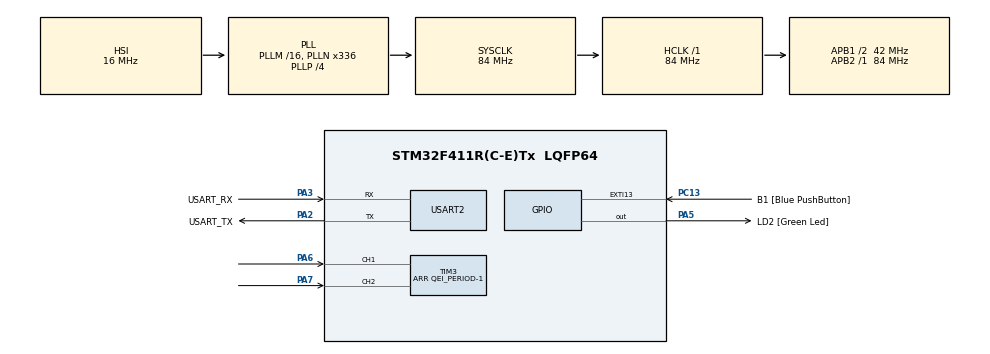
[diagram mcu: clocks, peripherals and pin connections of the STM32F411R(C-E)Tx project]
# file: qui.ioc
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Mcu.Family=STM32F4
Mcu.Name=STM32F411R(C-E)Tx
Mcu.Package=LQFP64
Mcu.UserConstants=QEI_PERIOD,64512
NVIC.PriorityGroup=NVIC_PRIORITYGROUP_0
NVIC.TIM5_IRQn=true\:0\:0\:false\:false\:true\:true\:true\:true
PA13.GPIO_Label=TMS
PA13.Mode=Trace_Asynchronous_SW
PA13.Signal=SYS_JTMS-SWDIO
PA14.GPIO_Label=TCK
PA14.Mode=Trace_Asynchronous_SW
PA14.Signal=SYS_JTCK-SWCLK
PA2.GPIO_Label=USART_TX
PA2.Mode=Asynchronous
PA2.Signal=USART2_TX
PA3.GPIO_Label=USART_RX
PA3.Mode=Asynchronous
PA3.Signal=USART2_RX
PA5.GPIO_Label=LD2 [Green Led]
PA5.Signal=GPIO_Output
PA6.Signal=S_TIM3_CH1
PA7.Signal=S_TIM3_CH2
PB3.GPIO_Label=SWO
PB3.Mode=Trace_Asynchronous_SW
PB3.Signal=SYS_JTDO-SWO
PC13-ANTI_TAMP.GPIO_Label=B1 [Blue PushButton]
PC13-ANTI_TAMP.GPIO_ModeDefaultEXTI=GPIO_MODE_IT_FALLING
PC13-ANTI_TAMP.Signal=GPXTI13
PC14-OSC32_IN.Mode=LSE-External-Oscillator
PC14-OSC32_IN.Signal=RCC_OSC32_IN
PC15-OSC32_OUT.Mode=LSE-External-Oscillator
PC15-OSC32_OUT.Signal=RCC_OSC32_OUT
PH0\ -\ OSC_IN.Mode=HSE-External-Clock-Source
PH0\ -\ OSC_IN.Signal=RCC_OSC_IN
PH1\ -\ OSC_OUT.Mode=HSE-External-Clock-Source
PH1\ -\ OSC_OUT.Signal=RCC_OSC_OUT
ProjectManager.HeapSize=0x200
ProjectManager.StackSize=0x400
ProjectManager.TargetToolchain=STM32CubeIDE
RCC.48MHZClocksFreq_Value=84000000
RCC.AHBFreq_Value=84000000
RCC.APB1CLKDivider=RCC_HCLK_DIV2
RCC.APB1Freq_Value=42000000
RCC.APB1TimFreq_Value=84000000
RCC.APB2Freq_Value=84000000
RCC.APB2TimFreq_Value=84000000
RCC.CortexFreq_Value=84000000
RCC.FLatency-AdvancedSettings=FLASH_LATENCY_2
RCC.HCLKFreq_Value=84000000
RCC.HSE_VALUE=8000000
RCC.HSI_VALUE=16000000
RCC.PLLN=336
RCC.PLLP=RCC_PLLP_DIV4
RCC.SYSCLKFreq_VALUE=84000000
RCC.SYSCLKSource=RCC_SYSCLKSOURCE_PLLCLK
RCC.VCOOutputFreq_Value=336000000
SH.S_TIM3_CH1.0=TIM3_CH1,Encoder_Interface
SH.S_TIM3_CH2.0=TIM3_CH2,Encoder_Interface
TIM3.EncoderMode=TIM_ENCODERMODE_TI12
TIM3.Period=QEI_PERIOD-1
USART2.VirtualMode=VM_ASYNC
VP_TIM5_VS_ClockSourceINT.Mode=Internal
board=NUCLEO-F411RE

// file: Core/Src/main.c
/* USER CODE BEGIN Header */
/**
  ******************************************************************************
  * @file           : main.c
  * @brief          : Main program body
  ******************************************************************************
  * @attention
  *
  * Copyright (c) 2023 STMicroelectronics.
  * All rights reserved.
  *
  * This software is licensed under terms that can be found in the LICENSE file
  * in the root directory of this software component.
  * If no LICENSE file comes with this software, it is provided AS-IS.
  *
  ******************************************************************************
  */
/* USER CODE END Header */
#include "main.h"

TIM_HandleTypeDef htim3;
TIM_HandleTypeDef htim5;

UART_HandleTypeDef huart2;

/* USER CODE BEGIN PV */
uint32_t QEIReadRaw;
uint16_t a;
typedef struct _QEIStructure{
	uint32_t data[2];
	uint64_t timestamp[2];

	float QEIPosition;//step
	float QEIVelocity;//step/sec
}QEIStructureTypedef;
QEIStructureTypedef QEIData={0};
uint64_t _micros=0;
/* USER CODE END PV */

void SystemClock_Config(void);
static void MX_GPIO_Init(void);
static void MX_USART2_UART_Init(void);
static void MX_TIM3_Init(void);
static void MX_TIM5_Init(void);
/* USER CODE BEGIN PFP */
inline uint64_t micros();
void QEIEncoderPositionVelocity_Update();
/* USER CODE END PFP */

int main(void)
{

  /* MCU Configuration--------------------------------------------------------*/

  /* Reset of all peripherals, Initializes the Flash interface and the Systick. */
  HAL_Init();

  /* Configure the system clock */
  SystemClock_Config();

  /* Initialize all configured peripherals */
  MX_GPIO_Init();
  MX_USART2_UART_Init();
  MX_TIM3_Init();
  MX_TIM5_Init();
  /* USER CODE BEGIN 2 */
  HAL_TIM_Encoder_Start(&htim3,TIM_CHANNEL_1|TIM_CHANNEL_2);
  HAL_TIM_Base_Start(&htim5);
  /* USER CODE END 2 */

  /* Infinite loop */
  while (1)
  {

    /* USER CODE BEGIN 3 */
	  QEIReadRaw=__HAL_TIM_GET_COUNTER(&htim3);
	  a=(QEIReadRaw/3071.0)*360.0;
	  static uint32_t timestamp=0;
	  if(HAL_GetTick()>timestamp){
		  timestamp=HAL_GetTick()+500;
		  //printf("Position = %ld\n",a);
	  }
	  static uint64_t timestamp2=0;
	  uint64_t currentTime=micros();
	  if(currentTime>timestamp2){
		  timestamp2 = currentTime+100000;
		  QEIEncoderPositionVelocity_Update();
	  }
  }
  /* USER CODE END 3 */
}

void SystemClock_Config(void)
{
  RCC_OscInitTypeDef RCC_OscInitStruct = {0};
  RCC_ClkInitTypeDef RCC_ClkInitStruct = {0};

  /** Configure the main internal regulator output voltage
  */
  __HAL_RCC_PWR_CLK_ENABLE();
  __HAL_PWR_VOLTAGESCALING_CONFIG(PWR_REGULATOR_VOLTAGE_SCALE1);

  /** Initializes the RCC Oscillators according to the specified parameters
  * in the RCC_OscInitTypeDef structure.
  */
  RCC_OscInitStruct.OscillatorType = RCC_OSCILLATORTYPE_HSI;
  RCC_OscInitStruct.HSIState = RCC_HSI_ON;
  RCC_OscInitStruct.HSICalibrationValue = RCC_HSICALIBRATION_DEFAULT;
  RCC_OscInitStruct.PLL.PLLState = RCC_PLL_ON;
  RCC_OscInitStruct.PLL.PLLSource = RCC_PLLSOURCE_HSI;
  RCC_OscInitStruct.PLL.PLLM = 16;
  RCC_OscInitStruct.PLL.PLLN = 336;
  RCC_OscInitStruct.PLL.PLLP = RCC_PLLP_DIV4;
  RCC_OscInitStruct.PLL.PLLQ = 4;
  if (HAL_RCC_OscConfig(&RCC_OscInitStruct) != HAL_OK)
  {
    Error_Handler();
  }

  /** Initializes the CPU, AHB and APB buses clocks
  */
  RCC_ClkInitStruct.ClockType = RCC_CLOCKTYPE_HCLK|RCC_CLOCKTYPE_SYSCLK
                              |RCC_CLOCKTYPE_PCLK1|RCC_CLOCKTYPE_PCLK2;
  RCC_ClkInitStruct.SYSCLKSource = RCC_SYSCLKSOURCE_PLLCLK;
  RCC_ClkInitStruct.AHBCLKDivider = RCC_SYSCLK_DIV1;
  RCC_ClkInitStruct.APB1CLKDivider = RCC_HCLK_DIV2;
  RCC_ClkInitStruct.APB2CLKDivider = RCC_HCLK_DIV1;

  if (HAL_RCC_ClockConfig(&RCC_ClkInitStruct, FLASH_LATENCY_2) != HAL_OK)
  {
    Error_Handler();
  }
}

static void MX_TIM3_Init(void)
{

  TIM_Encoder_InitTypeDef sConfig = {0};
  TIM_MasterConfigTypeDef sMasterConfig = {0};

  htim3.Instance = TIM3;
  htim3.Init.Prescaler = 0;
  htim3.Init.CounterMode = TIM_COUNTERMODE_UP;
  htim3.Init.Period = QEI_PERIOD-1;
  htim3.Init.ClockDivision = TIM_CLOCKDIVISION_DIV1;
  htim3.Init.AutoReloadPreload = TIM_AUTORELOAD_PRELOAD_DISABLE;
  sConfig.EncoderMode = TIM_ENCODERMODE_TI12;
  sConfig.IC1Polarity = TIM_ICPOLARITY_RISING;
  sConfig.IC1Selection = TIM_ICSELECTION_DIRECTTI;
  sConfig.IC1Prescaler = TIM_ICPSC_DIV1;
  sConfig.IC1Filter = 0;
  sConfig.IC2Polarity = TIM_ICPOLARITY_RISING;
  sConfig.IC2Selection = TIM_ICSELECTION_DIRECTTI;
  sConfig.IC2Prescaler = TIM_ICPSC_DIV1;
  sConfig.IC2Filter = 0;
  if (HAL_TIM_Encoder_Init(&htim3, &sConfig) != HAL_OK)
  {
    Error_Handler();
  }
  sMasterConfig.MasterOutputTrigger = TIM_TRGO_RESET;
  sMasterConfig.MasterSlaveMode = TIM_MASTERSLAVEMODE_DISABLE;
  if (HAL_TIMEx_MasterConfigSynchronization(&htim3, &sMasterConfig) != HAL_OK)
  {
    Error_Handler();
  }

}

static void MX_TIM5_Init(void)
{

  TIM_ClockConfigTypeDef sClockSourceConfig = {0};
  TIM_MasterConfigTypeDef sMasterConfig = {0};

  htim5.Instance = TIM5;
  htim5.Init.Prescaler = 0;
  htim5.Init.CounterMode = TIM_COUNTERMODE_UP;
  htim5.Init.Period = 4294967295;
  htim5.Init.ClockDivision = TIM_CLOCKDIVISION_DIV1;
  htim5.Init.AutoReloadPreload = TIM_AUTORELOAD_PRELOAD_DISABLE;
  if (HAL_TIM_Base_Init(&htim5) != HAL_OK)
  {
    Error_Handler();
  }
  sClockSourceConfig.ClockSource = TIM_CLOCKSOURCE_INTERNAL;
  if (HAL_TIM_ConfigClockSource(&htim5, &sClockSourceConfig) != HAL_OK)
  {
    Error_Handler();
  }
  sMasterConfig.MasterOutputTrigger = TIM_TRGO_RESET;
  sMasterConfig.MasterSlaveMode = TIM_MASTERSLAVEMODE_DISABLE;
  if (HAL_TIMEx_MasterConfigSynchronization(&htim5, &sMasterConfig) != HAL_OK)
  {
    Error_Handler();
  }

}

static void MX_USART2_UART_Init(void)
{

  huart2.Instance = USART2;
  huart2.Init.BaudRate = 115200;
  huart2.Init.WordLength = UART_WORDLENGTH_8B;
  huart2.Init.StopBits = UART_STOPBITS_1;
  huart2.Init.Parity = UART_PARITY_NONE;
  huart2.Init.Mode = UART_MODE_TX_RX;
  huart2.Init.HwFlowCtl = UART_HWCONTROL_NONE;
  huart2.Init.OverSampling = UART_OVERSAMPLING_16;
  if (HAL_UART_Init(&huart2) != HAL_OK)
  {
    Error_Handler();
  }

}

static void MX_GPIO_Init(void)
{
  GPIO_InitTypeDef GPIO_InitStruct = {0};

  /* GPIO Ports Clock Enable */
  __HAL_RCC_GPIOC_CLK_ENABLE();
  __HAL_RCC_GPIOH_CLK_ENABLE();
  __HAL_RCC_GPIOA_CLK_ENABLE();
  __HAL_RCC_GPIOB_CLK_ENABLE();

  /*Configure GPIO pin Output Level */
  HAL_GPIO_WritePin(LD2_GPIO_Port, LD2_Pin, GPIO_PIN_RESET);

  /*Configure GPIO pin : B1_Pin */
  GPIO_InitStruct.Pin = B1_Pin;
  GPIO_InitStruct.Mode = GPIO_MODE_IT_FALLING;
  GPIO_InitStruct.Pull = GPIO_NOPULL;
  HAL_GPIO_Init(B1_GPIO_Port, &GPIO_InitStruct);

  /*Configure GPIO pin : LD2_Pin */
  GPIO_InitStruct.Pin = LD2_Pin;
  GPIO_InitStruct.Mode = GPIO_MODE_OUTPUT_PP;
  GPIO_InitStruct.Pull = GPIO_NOPULL;
  GPIO_InitStruct.Speed = GPIO_SPEED_FREQ_LOW;
  HAL_GPIO_Init(LD2_GPIO_Port, &GPIO_InitStruct);

}

/* USER CODE BEGIN 4 */
int _write(int file,char *ptr,int len)
{
	int i;
	for(i=0;i<len;i++){
		ITM_SendChar(*ptr++);
	}
	return len;
}
void QEIEncoderPositionVelocity_Update()
{
	//collect data
	QEIData.timestamp[0]= micros();
	uint32_t couterPosition = __HAL_TIM_GET_COUNTER(&htim3);
	QEIData.data[0] = couterPosition ;

	//calculation
	QEIData.QEIPosition = couterPosition % 3072;

	int32_t diffPosition = QEIData.data[0] - QEIData.data[1];
	float difftime = (QEIData.timestamp[0]-QEIData.timestamp[1]);

	//handle wrap-around
	if(diffPosition > QEI_PERIOD>>1) diffPosition -= QEI_PERIOD;
	if(diffPosition < -(QEI_PERIOD>>1)) diffPosition += QEI_PERIOD;

	//calculate angular velocity in pulse per sec
	QEIData.QEIVelocity = (diffPosition*1000000)/difftime;

	QEIData.data[1]=QEIData.data[0];
	QEIData.timestamp[1] = QEIData.timestamp[0];
}
void HAL_TIM_PeriodElapsedCallback(TIM_HandleTypeDef *htim)
{
	if(htim==&htim5){
		_micros+=UINT32_MAX;
	}
}
uint64_t micros(){
	return __HAL_TIM_GET_COUNTER(&htim5)+_micros;
}
/* USER CODE END 4 */

void Error_Handler(void)
{
  __disable_irq();
  while (1)
  {
  }
}
